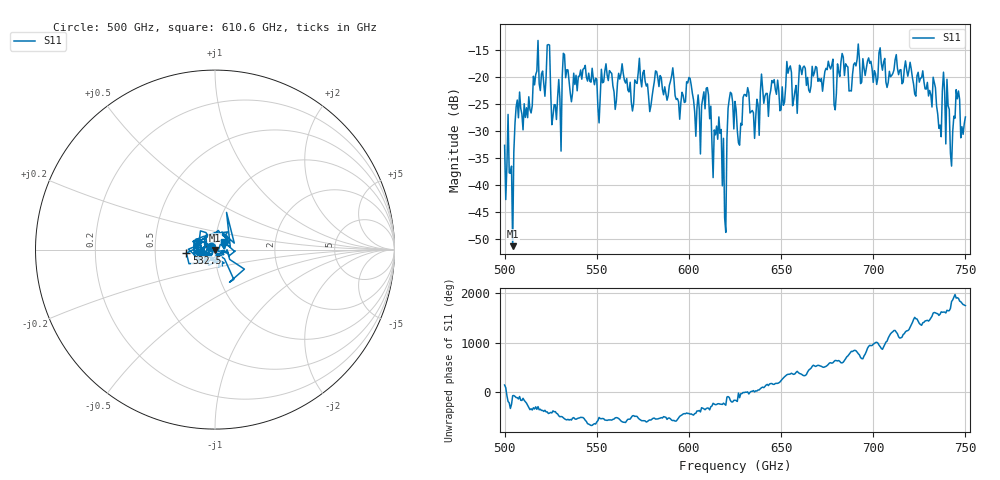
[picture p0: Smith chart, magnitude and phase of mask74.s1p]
!Created with skrf (http://scikit-rf.org).
# GHz S MA R 50.0
!freq magS11 angS11
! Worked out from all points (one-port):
!   401 points, 500 GHz to 750 GHz, reference 50 ohm
!   lowest |S11| = -51.2 dB at 504.4 GHz (marker M1), VSWR 1.01, Z = 50.1 - j0.255 ohm
!   |S11| at or under -10 dB: start of sweep to end of sweep
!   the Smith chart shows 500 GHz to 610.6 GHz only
!   S11 on the Smith chart (normalised r, x): 500 GHz: 0.96, +0.02; 532.5 GHz: 0.72, -0.03; 610.6 GHz: 1.10, +0.10
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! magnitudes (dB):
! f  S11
! 500 GHz  -32.6
! 504.4 GHz  -51.2
! 506.9 GHz  -24.3
! 513.8 GHz  -26.0
! 516.9 GHz  -19.6
! 523.8 GHz  -14.0
! 526.9 GHz  -25.1
! 531.2 GHz  -19.9
! 532.5 GHz  -15.9
! 550.6 GHz  -25.6
! 562.5 GHz  -20.4
! 593.8 GHz  -24.0
! 610.6 GHz  -23.3
! 612.5 GHz  -32.3
! 617.5 GHz  -29.7
! 619.4 GHz  -46.0
! 621.9 GHz  -24.1
! 625 GHz  -24.5
! 656.2 GHz  -25.3
! 687.5 GHz  -22.5
! 691.2 GHz  -16.8
! 718.8 GHz  -19.9
! 733.8 GHz  -22.0
! 735.6 GHz  -29.5
! 738.8 GHz  -22.8
! 743.1 GHz  -30.1
! 745.6 GHz  -24.0
! 750 GHz  -27.4
